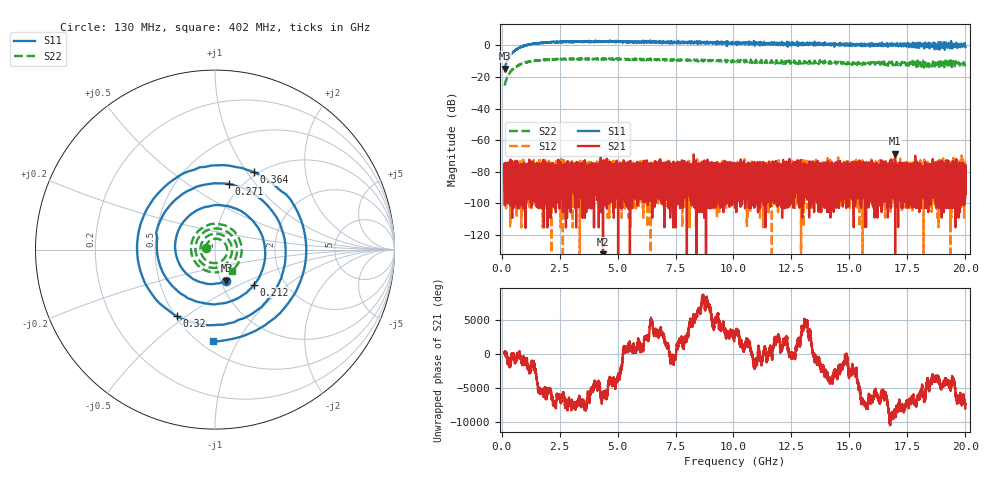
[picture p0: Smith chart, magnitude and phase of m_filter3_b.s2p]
!Created with skrf (http://scikit-rf.org).
# GHz S RI R 50.0
!freq ReS11 ImS11 ReS21 ImS21 ReS12 ImS12 ReS22 ImS22
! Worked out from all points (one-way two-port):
!   20013 points, 130 MHz to 20 GHz, reference 50 ohm
!   highest |S21| = -68.60 dB at 16.97 GHz (marker M1); lowest = -178.5 dB at 4.372 GHz (marker M2)
!   lowest |S11| = -14.7 dB at 130 MHz (marker M3), VSWR 1.45, Z = 53.3 - j19 ohm
!   |S11| at or under -10 dB: start of sweep to 239.5 MHz
!   |S22| runs from -25.5 to -8.2 dB; largest |S21 - S12| = 0.00043
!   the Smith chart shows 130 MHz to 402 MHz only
!   S11 on the Smith chart (normalised r, x): 130 MHz: 1.07, -0.38; 212 MHz: 1.41, -0.60; 271 MHz: 0.87, +0.74; 320 MHz: 0.51, -0.46; 364 MHz: 0.96, +1.08; 402 MHz: 0.58, -0.80
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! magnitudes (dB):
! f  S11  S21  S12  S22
! 130 MHz  -14.7  -84.3  -79.8  -25.5
! 212 MHz  -10.7  -80.2  -85.4  -21.5
! 271 MHz  -8.5  -82.9  -86.1  -19.5
! 320 MHz  -7.4  -84.8  -77.3  -18.1
! 364 MHz  -6.3  -80.1  -85.5  -17.1
! 402 MHz  -5.8  -85.0  -96.1  -16.4
! 807 MHz  -1.1  -101.1  -80.0  -11.9
! 1.338 GHz  0.8  -80.5  -81.7  -10.0
! 2.219 GHz  2.1  -77.2  -83.4  -8.9
! 3.442 GHz  2.7  -77.8  -84.0  -8.5
! 4.372 GHz  2.5  -178.5  -84.8  -8.7
! 6.754 GHz  1.8  -82.4  -86.3  -9.1
! 10.06 GHz  1.7  -80.0  -84.9  -9.9
! 13.38 GHz  0.5  -80.1  -82.8  -10.3
! 16.69 GHz  0.5  -75.0  -78.6  -11.2
! 16.97 GHz  0.4  -68.6  -81.2  -11.9
! 18.11 GHz  -0.7  -80.9  -76.6  -13.3
! 18.72 GHz  0.5  -83.8  -80.6  -11.1
! 19.42 GHz  -1.7  -90.4  -82.5  -13.7
! 19.47 GHz  0.8  -81.0  -83.3  -10.2
! 19.53 GHz  -0.1  -79.4  -81.2  -13.4
! 20 GHz  -1.1  -81.7  -85.7  -12.6
